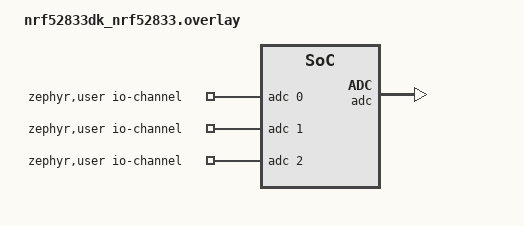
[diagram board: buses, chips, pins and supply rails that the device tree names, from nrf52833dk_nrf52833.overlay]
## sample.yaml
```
sample:
  name: Grove Light Sensor
tests:
  sample.sensor.grove_light:
    tags: drivers sensor grove light
    integration_platforms:
      - nrf52dk_nrf52832
    harness: grove
    depends_on: adc
```

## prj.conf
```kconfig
CONFIG_ADC=y
CONFIG_ADC_ASYNC=y
CONFIG_NEWLIB_LIBC=y
CONFIG_NEWLIB_LIBC_FLOAT_PRINTF=y
CONFIG_CBPRINTF_FP_SUPPORT=y
```

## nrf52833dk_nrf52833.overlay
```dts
// To get started, press Ctrl+Space (or Option+Esc) to bring up the completion menu and view the available nodes.

// You can also use the buttons in the sidebar to perform actions on nodes.
// Actions currently available include:

// * Enabling / disabling the node
// * Adding the bus to a bus
// * Removing the node
// * Connecting ADC channels

// For more help, browse the DeviceTree documentation at https://docs.zephyrproject.org/latest/guides/dts/index.html
// You can also visit the nRF DeviceTree extension documentation at https://nrfconnect.github.io/vscode-nrf-connect/devicetree/nrfdevicetree.html
/ {
    zephyr,user {
        io-channels = <&adc 0>, <&adc 1>, <&adc 2>;
    };
};


&adc {
    status = "okay";
    #address-cells = <1>;
    #size-cells = <0>;
};
```

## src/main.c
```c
#include <zephyr/kernel.h> 
#include <zephyr/init.h>
#include <zephyr/drivers/adc.h>

#define ADC_NODE		DT_NODELABEL(adc)

#define ADC_RESOLUTION		10
#define CHANNEL_ID 			0
#define ADC_PORT			SAADC_CH_PSELP_PSELP_AnalogInput0 // P0.02
#define ADC_GAIN			ADC_GAIN_1_4
#define ADC_REFERENCE		ADC_REF_INTERNAL
#define ADC_ACQUISITION_TIME	ADC_ACQ_TIME_DEFAULT
#define BUFFER_SIZE			6

static int16_t m_sample_buffer[BUFFER_SIZE];

// the channel configuration with channel not yet filled in
static struct adc_channel_cfg channel_cfg = {
	.gain             = ADC_GAIN,
	.reference        = ADC_REFERENCE,
	.acquisition_time = ADC_ACQUISITION_TIME,
	.channel_id       = CHANNEL_ID,
	.differential	  = 0,
	.input_positive   = ADC_PORT,
};

float mapRange(float minIn, float maxIn, float minOut, float maxOut, float val) {
	return (val - minIn) * (maxOut - minOut) / (maxIn - minIn) + minOut;
}

void main(void)
{
	const struct device *adc_dev = DEVICE_DT_GET(ADC_NODE);
	int ret;

	if (!adc_dev) {
		printk("error: no adc device\n");
		return;
	}

	ret = adc_channel_setup(adc_dev, &channel_cfg);
	if (ret) {
		printk("error: channel setup failed %d\n", ret);
		return;
	}

	while (1) {
		const struct adc_sequence sequence = {
			.options	= NULL,
			.channels	= BIT(CHANNEL_ID),
			.buffer		= m_sample_buffer,
			.buffer_size	= sizeof(m_sample_buffer),
			.resolution	= ADC_RESOLUTION,
			.oversampling	= 0,
			.calibrate	= false,
		};

		ret = adc_read(adc_dev, &sequence);
		if (ret) {
			printk("error: read failed %d\n", ret);
			return;
		}

		printk("Raw : %d", m_sample_buffer);
		printk("\t Map : %.\n", mapRange(0, 1023, 0, 100, m_sample_buffer));
		k_sleep(K_MSEC(100));
	}
}
```
